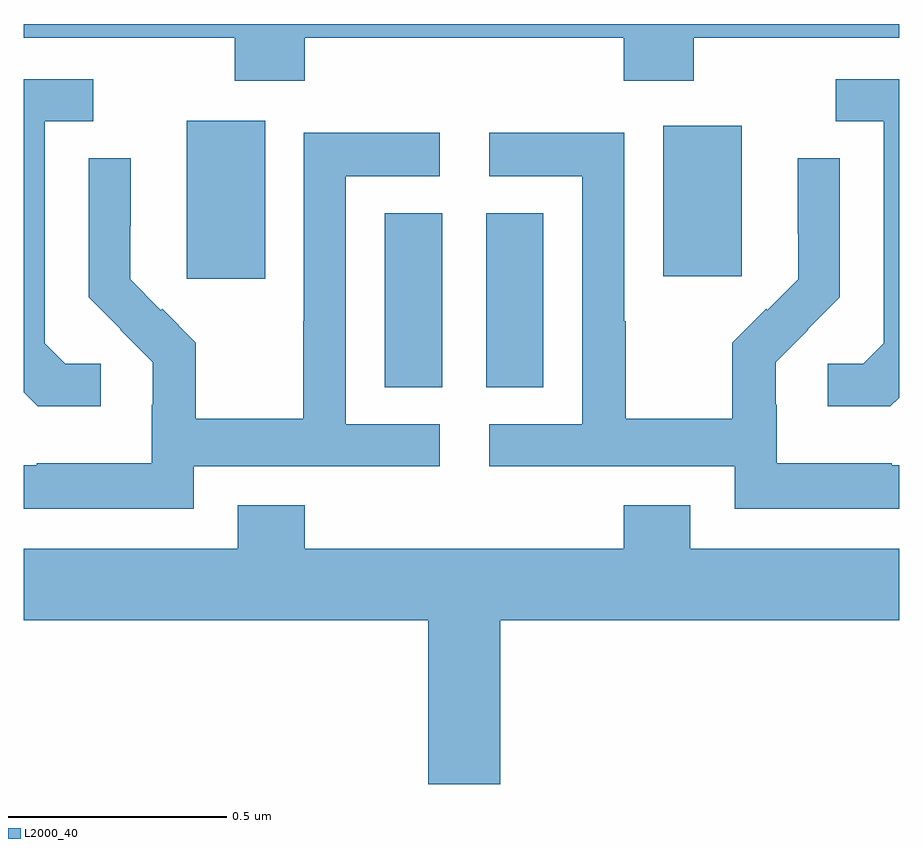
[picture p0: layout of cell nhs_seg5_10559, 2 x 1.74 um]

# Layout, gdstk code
import gdstk
lib = gdstk.Library(unit=1e-6, precision=1e-09)
def R(c, l, rs):  # rectangles x0, y0, x1, y1
    for r in rs: c.add(gdstk.rectangle(r[:2], r[2:], *l))
def P(c, l, *ps):  # polygons
    for p in ps: c.add(gdstk.Polygon(p, *l))
L2000_40 = (2000, 40)

nhs_seg5_10559 = lib.new_cell('nhs_seg5_10559')
R(nhs_seg5_10559, L2000_40, [(248.825,847.969,248.956,848.366), (249.056,847.969,249.187,848.366), (248.372,848.217,248.551,848.578), (249.461,848.222,249.64,848.566)])
P(nhs_seg5_10559, L2000_40, [(248.642,848.768),(249.371,848.768),(249.371,848.669),(249.531,848.669),(249.531,848.768),(250,848.768),(250,848.799),(248,848.799),(248,848.768),(248.482,848.768),(248.482,848.669),(248.642,848.669)],
  [(248.176,848.022),(248.094,848.022),(248.047,848.069),(248.047,848.577),(248.158,848.577),(248.158,848.673),(248,848.673),(248,847.957),(248.032,847.925),(248.176,847.925)],
  [(250,847.945),(250,848.673),(249.855,848.673),(249.855,848.577),(249.965,848.577),(249.965,848.069),(249.918,848.022),(249.837,848.022),(249.837,847.925),(249.98,847.925)],
  [(248.388,847.788),(248.95,847.788),(248.95,847.884),(248.736,847.884),(248.736,848.451),(248.95,848.451),(248.95,848.55),(248.64,848.55),(248.64,848.12),(248.638,848.12),(248.638,847.897),(248.393,847.897),(248.393,848.071),(248.316,848.148),(248.313,848.145),(248.243,848.216),(248.243,848.338),(248.244,848.338),(248.244,848.492),(248.148,848.492),(248.148,848.174),(248.221,848.101),(248.22,848.1),(248.294,848.026),(248.294,847.929),(248.292,847.929),(248.292,847.795),(248.029,847.795),(248.029,847.791),(248,847.791),(248,847.691),(248.388,847.691)],
  [(250,847.791),(249.983,847.791),(249.983,847.795),(249.72,847.795),(249.72,847.929),(249.718,847.929),(249.718,848.026),(249.792,848.1),(249.791,848.101),(249.864,848.174),(249.864,848.492),(249.768,848.492),(249.768,848.32),(249.77,848.32),(249.77,848.216),(249.699,848.145),(249.696,848.148),(249.619,848.071),(249.619,847.897),(249.375,847.897),(249.375,848.12),(249.372,848.12),(249.372,848.55),(249.063,848.55),(249.063,848.451),(249.276,848.451),(249.276,847.884),(249.063,847.884),(249.063,847.788),(249.624,847.788),(249.624,847.691),(250,847.691)],
  [(249.088,847.436),(250,847.436),(250,847.6),(249.523,847.6),(249.523,847.699),(249.371,847.699),(249.371,847.6),(248.642,847.6),(248.642,847.699),(248.489,847.699),(248.489,847.6),(248,847.6),(248,847.436),(248.924,847.436),(248.924,847.062),(249.088,847.062)])

lib.write_gds('nhs_seg5_10559.gds')
